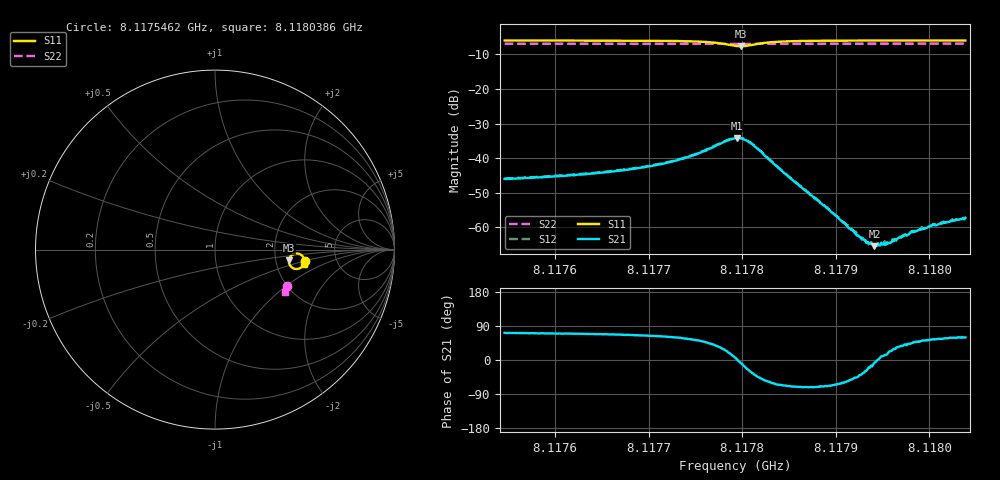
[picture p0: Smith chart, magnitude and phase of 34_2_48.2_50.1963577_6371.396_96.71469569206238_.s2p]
#  HZ  S  RI  R  50.00
! Rohde & Schwarz Vector Network Analyzer
! Rohde-Schwarz,ZNB20-2Port,1311601062101988,3.16
! Created: UTC 3/20/2024, 11:37:35 AM
! freq[Hz]  re:S11  im:S11  re:S21  im:S21  re:S12  im:S12  re:S22  im:S22
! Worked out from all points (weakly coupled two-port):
!   401 points, 8.1175462 GHz to 8.1180386 GHz, reference 50 ohm
!   highest |S21| = -34.21 dB at 8.1177948 GHz (marker M1); lowest = -65.5 dB at 8.1179413 GHz (marker M2)
!   lowest |S11| = -7.6 dB at 8.1177985 GHz (marker M3), VSWR 2.42, Z = 118 - j16.9 ohm
!   |S11| at or under -10 dB: nowhere
!   |S22| runs from -7.0 to -6.9 dB; largest |S21 - S12| = 0.00057
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8.11754616e9  0.5011 -0.0624  0.00156 0.00474  0.00165 0.00477  0.4032 -0.2049
8.11762864e9  0.4986 -0.0722  0.00207 0.00539  0.00219 0.00552  0.4006 -0.2103
8.11766926e9  0.4965 -0.0786  0.00255 0.00605  0.00271 0.00615  0.3993 -0.2131
8.11771112e9  0.4917 -0.0878  0.00367 0.00716  0.00383 0.00727  0.3977 -0.2158
8.11774928e9  0.4785 -0.1011  0.00667 0.00887  0.00685 0.009  0.3959 -0.2184
8.11777637e9  0.4465 -0.1074  0.0134 0.00888  0.0137 0.00882  0.3937 -0.2201
8.11779237e9  0.4143 -0.081  0.0192 0.00216  0.0196 0.00183  0.3921 -0.2194
8.11779483e9  0.4119 -0.0726  0.0195 0.000209  0.0198 3.47e-05  0.392 -0.2191
8.11779853e9  0.4115 -0.0592  0.019 -0.00265  0.0193 -0.00291  0.3921 -0.2188
8.11780468e9  0.4199 -0.0387  0.0167 -0.00684  0.0169 -0.00713  0.3924 -0.2184
8.11781207e9  0.4385 -0.0245  0.0124 -0.00912  0.0124 -0.00941  0.3932 -0.2187
8.11783546e9  0.4806 -0.03  0.00359 -0.00704  0.00364 -0.00711  0.3942 -0.2207
8.11787485e9  0.4962 -0.0514  0.000917 -0.00268  0.000904 -0.0027  0.3935 -0.2242
8.11790193e9  0.4982 -0.0599  0.000627 -0.00124  0.00064 -0.00125  0.3927 -0.2261
8.11792532e9  0.4988 -0.0652  0.000557 -0.000465  0.000547 -0.000463  0.3918 -0.2278
8.11793271e9  0.4989 -0.0667  0.000519 -0.000285  0.000506 -0.000277  0.3915 -0.2282
8.11794133e9  0.499 -0.0682  0.000525 -6.78e-05  0.00057 -8.83e-05  0.3912 -0.2289
8.11794871e9  0.499 -0.0695  0.000585 0.0001  0.000561 5.87e-05  0.3911 -0.2293
8.11795733e9  0.499 -0.0709  0.000549 0.000227  0.000566 0.000234  0.3908 -0.2298
8.11797457e9  0.499 -0.0734  0.000591 0.000519  0.000606 0.000469  0.3901 -0.231
8.11800165e9  0.4987 -0.0769  0.000623 0.000842  0.000622 0.00083  0.3894 -0.2327
8.11803858e9  0.4983 -0.0813  0.000685 0.00117  0.000712 0.00116  0.388 -0.235
